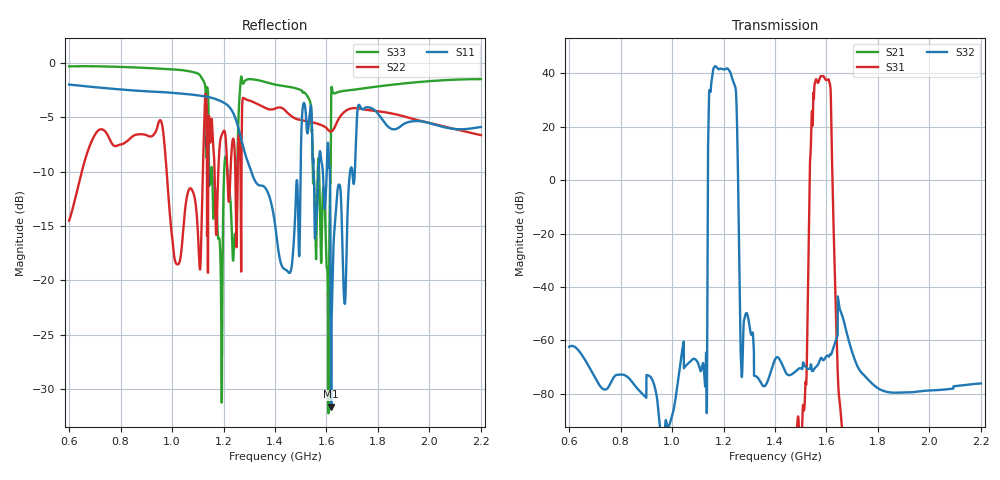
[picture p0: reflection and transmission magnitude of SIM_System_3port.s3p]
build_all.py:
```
"""Regenerate every output of project 16 in order.

    python build_all.py [--aedt]

1. simulate.py          Touchstone models, system simulation, plots, results CSV/JSON
   extra_rf.py          rejection, insertion loss, RL/isolation, output noise, XPD, SFDR, worst case
   sband.py             NavIC S-band branch (TA1442A, C2327J5003AHF) models, simulation, plots
   lband_aedt_plots.py  simulator-style L-band plots
2. build_extracted.py   extracted-parameter CSV/XLSX, assumptions log
3. make_schematics.py   schematic and connection-diagram images
4. crosscheck_heavi.py  heavi cross-check (runs with the repo .venv python, where heavi lives)
5. build_circuitrf.py   circuitRF netlist + CLI run + comparison
   build_qucs.py        Qucsator-RF (Qucs-S) netlist + run + comparison
6. aedt_circuit.py      ANSYS AEDT Circuit project (only with --aedt; needs AEDT + licence)
7. make_report.py       PDF + DOCX report; make_internal_report.py  internal technical note;
   make_rejection_doc.py   filter rejection analysis document
   make_bel_brief.py       graphics-first internal brief (RFM / Antenna Group, CRL-BG)
"""
import json
import subprocess
import sys
from pathlib import Path

import numpy as np

HERE = Path(__file__).resolve().parent
ROOT = HERE.parent
VENV_PY = ROOT.parents[1] / ".venv" / "Scripts" / "python.exe"


def run(script, *args, py=sys.executable, required=True):
    print(f"== {script} {' '.join(args)}")
    r = subprocess.run([str(py), script, *args], cwd=HERE)
    if r.returncode and required:
        sys.exit(f"{script} failed ({r.returncode})")
    return r.returncode == 0


def compare_aedt():
    """Compare ANSYS_Project/AEDT_System_3port.s3p with the scikit-rf reference."""
    import skrf as rf
    f = ROOT / "ANSYS_Project" / "AEDT_System_3port.s3p"
    if not f.exists():
        return
    a = rf.Network(str(f))
    ref = rf.Network(str(ROOT / "Touchstone" / "SIM_System_3port.s3p")).interpolate(a.frequency)
    inb = ((a.f > 1.164e9) & (a.f < 1.230e9)) | ((a.f > 1.559e9) & (a.f < 1.606e9))
    rep = {}
    for nm, (i, j) in {"S31": (2, 0), "S32": (2, 1), "S11": (0, 0), "S22": (1, 1), "S33": (2, 2)}.items():
        d = 20 * np.log10(abs(a.s[:, i, j])) - 20 * np.log10(abs(ref.s[:, i, j]))
        rep[nm] = dict(max_abs_diff_db_inband=float(abs(d[inb]).max()))
    (ROOT / "Extracted_Data" / "crosscheck_aedt.json").write_text(json.dumps(rep, indent=1))
    print("AEDT vs reference:", rep)


if __name__ == "__main__":
    run("simulate.py")
    run("extra_rf.py")
    run("sband.py")
    run("lband_aedt_plots.py")
    run("build_extracted.py")
    run("make_schematics.py")
    if VENV_PY.exists():
        run("crosscheck_heavi.py", py=VENV_PY, required=False)
    run("build_circuitrf.py", required=False)
    run("build_qucs.py", required=False)
    if "--aedt" in sys.argv:
        run("aedt_circuit.py", required=False)
    compare_aedt()
    run("make_report.py")
    run("make_internal_report.py")
    run("make_rejection_doc.py")
    run("make_bel_brief.py")
```
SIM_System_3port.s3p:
! Project 16: GNSS L1 + L2/L5 active antenna front end (RFMW-ANT)
! Generated by Scripts/simulate.py from Scripts/ds_data.py; format GHz / RI, Z0 = 50 ohm
! SIMULATED with scikit-rf (Scripts/simulate.py). Port 1 = L1 virtual RHCP input, port 2 =
! L2/L5 virtual RHCP input, port 3 = RF output. LNAs biased, 5 V.
# GHz S RI R 50.0
! Port[1] = P1_L1_RHCP
! Port[2] = P2_L2L5_RHCP
! Port[3] = P3_RF_OUT
!freq ReS11 ImS11 ReS12 ImS12 ReS13 ImS13
! ReS21 ImS21 ReS22 ImS22 ReS23 ImS23
! ReS31 ImS31 ReS32 ImS32 ReS33 ImS33
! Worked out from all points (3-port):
!   3201 points, 600 MHz to 2.2 GHz, reference 50 ohm
!   strongest paths, dB at 600 MHz, 1 GHz, 1.4 GHz, 1.8 GHz, 2.2 GHz:
!     S32: -62.4, -88.3, -67.2, -77.9, -76.1
!     S31: -128.5, -120.8, -116.4, -113.4, -95.1
!     S21: -, -, -, -, -
!   lowest |S11| = -31.6 dB at 1.619 GHz (marker M1), VSWR 1.05, Z = 52 + j1.76 ohm
!   |S11| at or under -10 dB: 1.308 GHz to 1.499 GHz (191.7 MHz wide, 13.7 % of centre); 1.55 GHz to 1.569 GHz (19.36 MHz wide, 1.24 % of centre); 1.613 GHz to 1.692 GHz (78.86 MHz wide, 4.77 % of centre)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
0.6  0.6687 0.4285  -7.81e-14 9.62e-14  -3.05e-13 -3.65e-13
     -7.81e-14 9.62e-14  -0.146 0.1185  -6.83e-10 -6.76e-10
     -9.4e-08 3.65e-07  -0.00012 0.00075  -0.025 0.9628
1.1775  0.1441 -0.6602  1.54e-10 9.05e-11  -3.9e-13 1.28e-13
        1.54e-10 9.05e-11  0.1337 -0.2277  8.42e-05 -0.000413
        9.58e-08 -7.37e-08  16.85 122.7  -0.0803 0.1431
1.1975  0.1387 -0.6444  -6.6e-12 -9.44e-11  -4.03e-13 9.22e-14
        -6.6e-12 -9.44e-11  0.036 -0.4775  -0.000139 0.000398
        9.7e-08 -6.6e-08  -4.282 -119.6  -0.1379 0.0881
1.6185  0.0201 0.0169  2.38e-08 3.41e-09  -6.04e-05 9.23e-05
        2.38e-08 3.41e-09  -0.386 -0.291  3.91e-09 -1.09e-10
        -6.622 -14.01  -0.000274 0.000476  0.65 0.2432
2.2  -0.1527 0.4833  1.48e-12 3.25e-13  2.74e-10 -3.24e-11
     1.48e-12 3.25e-13  -0.1833 0.4276  2.44e-09 -2.14e-10
     3.96e-06 1.72e-05  3.06e-05 0.000154  -0.4405 0.7172
